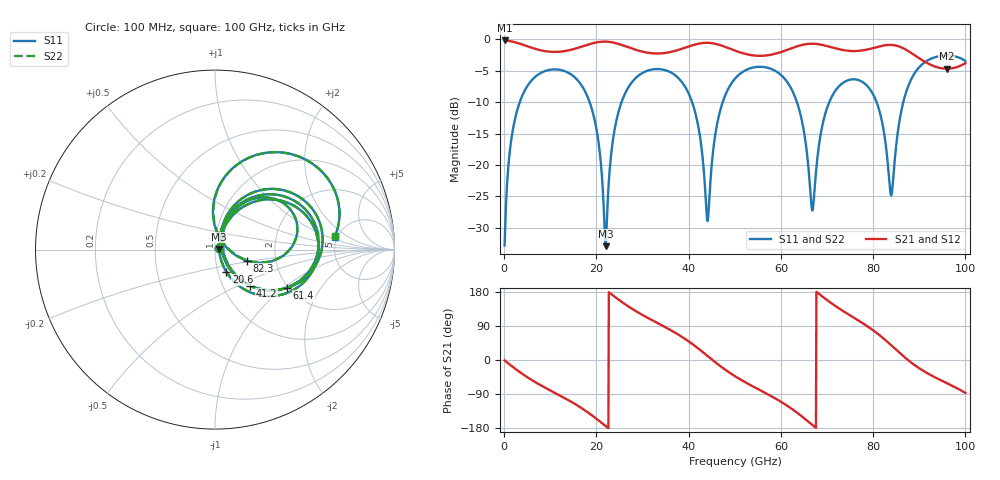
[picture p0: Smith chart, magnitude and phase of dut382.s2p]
! Touchstone file exported from HFSS 2026.1.0
!  File:  C:/ffzhzh/LocalFiles/Ansys_Project_Files/temp_train_TSV_RDL_382_1783715839_44652.aedt
!  Generated:  04:45:30 AM Jul 11, 2026
!  Design:  TSV_RDL
!  Project:  temp_train_TSV_RDL_382_1783715839_44652
! Variables:
!  h_bsmrdl = 3.74um
!  h_ox = 20um
!  h_rdl = 5um
!  h_sub = 63.71um
!  h_tmrdl = 2.06um
!  h_tsv = 63.71um
!  h_via = 3um
!  l_bsmrdl = 320.44um
!  l_sub = 2594.67um
!  l_tmrdl = 286.4um
!  m_sub = 200um
!  pitch = 50.49um
!  r_tsv = 12.53um
!  s_tmrdl = 10um
!  w_bsmrdl = 12.72um
!  w_sub = 500um
!  w_tmrdl = 16.53um
!  x_tsv_center1 = 294.665um
!  x_tsv_center2 = 627.825um
!  x_tsv_center3 = 930.755um
!  x_tsv_center4 = 1263.915um
!  x_tsv_center5 = 1566.845um
!  x_tsv_center6 = 1900.005um
# GHz S MA R 50.000000
! Terminal data exported
! Port[1] = TM_RDL1_1_T1
! Port[2] = TM_RDL5_1_T1
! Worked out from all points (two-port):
!   1000 points, 100 MHz to 100 GHz, reference 50 ohm
!   highest |S21| = -0.18 dB at 100 MHz (marker M1); lowest = -4.7 dB at 96 GHz (marker M2)
!   |S21| within 3 dB of the highest: start of sweep to 90.33 GHz
!   lowest |S11| = -32.9 dB at 22 GHz (marker M3), VSWR 1.05, Z = 52.3 + j0.324 ohm
!   |S11| at or under -10 dB: 18.53 GHz to 25.45 GHz (6.917 GHz wide, 31.4 % of centre); 40.75 GHz to 47.38 GHz (6.628 GHz wide, 15 % of centre); 63.47 GHz to 70.49 GHz (7.014 GHz wide, 10.5 % of centre) (the widest 3 of 5)
!   |S22| runs from -32.8 to -2.6 dB; largest |S21 - S12| = 1.7e-14
!   S11 on the Smith chart (normalised r, x): 100 MHz: 1.04, +0.02; 20.6 GHz: 1.10, -0.28; 41.2 GHz: 1.34, -0.59; 61.4 GHz: 1.97, -1.06; 82.3 GHz: 1.41, -0.18; 100 GHz: 4.74, +1.25
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0.1  0.0229 27.7  0.9799 -1.0  0.9799 -1.0  0.0229 27.7
! Gamma 0 0 0 0
! Port Impedance 50 0 50 0
1.7  0.1733 65.4  0.9608 -16.6  0.9608 -16.6  0.1733 65.4
4.6  0.3996 44.4  0.8919 -42.1  0.8919 -42.1  0.3996 44.4
10.8  0.5767 3.0  0.7942 -85.5  0.7942 -85.5  0.5768 3.0
16.8  0.4294 -36.7  0.8752 -127.1  0.8752 -127.1  0.4295 -36.6
20.6  0.1384 -63.1  0.953 -160.6  0.953 -160.6  0.1386 -62.7
22  0.02258 7.9  0.959 -174.2  0.959 -174.2  0.0233 7.8
25.4  0.3124 59.2  0.905 154.1  0.905 154.1  0.3124 59.1
33.4  0.5802 5.8  0.7718 96.6  0.7718 96.6  0.5802 5.8
41.2  0.2805 -46.1  0.9054 38.6  0.9054 38.6  0.2805 -46.0
44.1  0.03573 11.2  0.9383 10.7  0.9383 10.7  0.03606 11.2
46.4  0.2327 69.0  0.9095 -11.7  0.9095 -11.7  0.2326 69.0
50.1  0.4885 43.4  0.812 -43.2  0.812 -43.2  0.4884 43.4
61.4  0.4556 -27.9  0.8256 -120.9  0.8256 -120.9  0.4556 -27.9
66.7  0.04502 -6.1  0.923 -170.1  0.923 -170.1  0.04518 -6.0
69.3  0.2311 64.6  0.8972 164.5  0.8972 164.5  0.2311 64.6
72.8  0.4305 41.3  0.8311 134.5  0.8311 134.5  0.4305 41.5
82.3  0.1865 -19.1  0.8939 56.4  0.8939 56.4  0.1871 -18.4
83.4  0.0827 -4.2  0.9034 44.7  0.9034 44.7  0.08428 -2.9
88.2  0.4766 76.6  0.7817 -6.4  0.7817 -6.4  0.477 76.4
96  0.7441 28.5  0.5839 -61.2  0.5839 -61.2  0.7443 28.5
100  0.6711 6.2  0.6467 -87.1  0.6467 -87.1  0.6713 6.3
